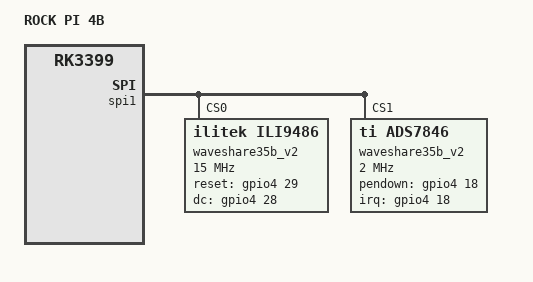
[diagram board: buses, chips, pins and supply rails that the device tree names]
/dts-v1/;
/plugin/;

/ {
	model = "ROCK PI 4B";
	compatible = "rockchip,rockpi","rockchip,rk3399";

	fragment@0 {
		target = <&gpio4>;

		__overlay__ {
			waveshare35b_v2_pins: waveshare35b_v2_pins {
				rockchip,pins = <4 18 0 &pcfg_pull_none>,
								<4 28 0 &pcfg_pull_none>,
								<4 29 0 &pcfg_pull_none>;
			};
		};
	};

	fragment@1 {
		target = <&spi1>;

		__overlay__ {
			status = "okay";
			max-freq = <48000000>;
			#address-cells = <0x1>;
			#size-cells = <0x0>;

			waveshare35b_v2@0 {
				compatible = "ilitek,ili9486";
				status = "okay";
				reg = <0>;
				id = <0>;
				pinctrl-names = "default";
				pinctrl-0 = <&waveshare35b_v2_pins>;
				spi-max-frequency = <15000000>;
				txbuflen = <32768>;
				rotate = <270>;
				bgr = <0>;
				fps = <30>;
				buswidth = <8>;
				regwidth = <16>;
				reset-gpios = <&gpio4 29 0>;
				dc-gpios = <&gpio4 28 0>;
				debug = <0>;
				init = <0x10000b0 0x0
					0x1000011
					0x20000ff
					0x1000021
					0x100003a 0x55
					0x10000c2 0x33
					0x10000c5 0x0 0x1e 0x80
					0x1000036 0x28
					0x10000b1 0xb0
					0x10000e0 0x0 0x13 0x18 0x4 0xf 0x6 0x3a 0x56 0x4d 0x3 0xa 0x6 0x30 0x3e 0xf
					0x10000e1 0x0 0x13 0x18 0x1 0x11 0x6 0x38 0x34 0x4d 0x6 0xd 0xb 0x31 0x37 0xf
					0x1000011
					0x20000ff
					0x1000029>;
			};
			waveshare35b_v2@1 {
				compatible = "ti,ads7846";
				status = "okay";
				reg = <1>;
				id = <1>;
				spi-max-frequency = <2000000>;
				interrupts = <18 2>;
				interrupt-parent = <&gpio4>;
				pendown-gpio = <&gpio4 18 0>;
				ti,x-plate-ohms = /bits/ 16 <60>;/*[00 3c];*/
				ti,pressure-max = /bits/ 16 <255>;/*[00 ff];*/
				ti,swap-xy = <0>;
			};
		};
	};
};
